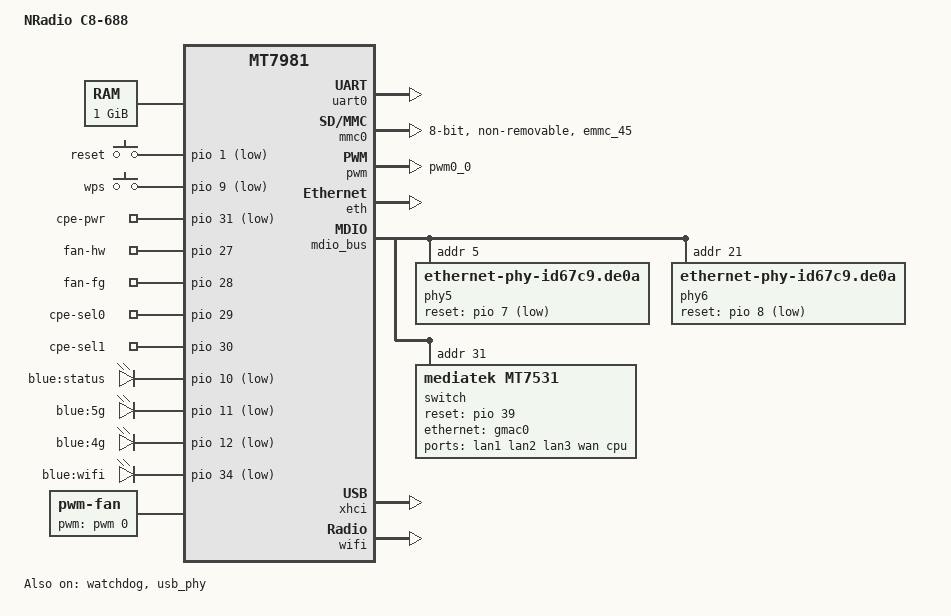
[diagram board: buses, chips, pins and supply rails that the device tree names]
/dts-v1/;

#include "mt7981b.dtsi"
#include <dt-bindings/gpio/gpio.h>
#include <dt-bindings/input/input.h>

/ {
	model = "NRadio C8-688";
	compatible = "nradio,c8-688", "mediatek,mt7981b", "mediatek,mt7981";

	aliases {
		serial0 = &uart0;
		led-boot = &led_status;
		led-failsafe = &led_status;
		led-running = &led_status;
		led-upgrade = &led_status;
	};

	chosen {
		bootargs = "console=ttyS0,115200n1 loglevel=8 root=/dev/mmcblk0p9 rootwait rootfstype=squashfs,f2fs";
	};

	memory@40000000 {
		device_type = "memory";
		reg = <0 0x40000000 0 0x40000000>; /* 1024MB (1GB) RAM */
	};

	/* 实体按键映射：Reset (GPIO 1), WPS (GPIO 9) */
	keys: gpio-keys {
		compatible = "gpio-keys";

		reset {
			label = "reset";
			linux,code = <KEY_RESTART>;
			gpios = <&pio 1 GPIO_ACTIVE_LOW>;
		};

		wps {
			label = "wps";
			linux,code = <KEY_WPS_BUTTON>;
			gpios = <&pio 9 GPIO_ACTIVE_LOW>;
		};
	};

	/* 5G 模组电源拉起与风扇常开控制 */
	gpio_export {
		compatible = "gpio-export";
		#size-cells = <0>;

		cpepower {
			gpio-export,name = "cpe-pwr";
			gpio-export,output = <0>;
			gpios = <&pio 31 GPIO_ACTIVE_LOW>;
		};

		fanpower {
			gpio-export,name = "fan-hw";
			gpio-export,output = <0>;
			gpios = <&pio 27 GPIO_ACTIVE_HIGH>;
		};

		fanfg {
			gpio-export,name = "fan-fg";
			gpio-export,output = <1>;
			gpios = <&pio 28 GPIO_ACTIVE_HIGH>;
		};

		cpesel0 {
			gpio-export,name = "cpe-sel0";
			gpio-export,output = <1>;
			gpios = <&pio 29 GPIO_ACTIVE_HIGH>;
		};

		cpesel1 {
			gpio-export,name = "cpe-sel1";
			gpio-export,output = <1>;
			gpios = <&pio 30 GPIO_ACTIVE_HIGH>;
		};
	};

	/* 真实状态与网络指示灯 */
	leds: gpio-leds {
		compatible = "gpio-leds";

		led_status: status {
			label = "blue:status";
			gpios = <&pio 10 GPIO_ACTIVE_LOW>;
			default-state = "on";
		};

		cmode5 {
			label = "blue:5g";
			gpios = <&pio 11 GPIO_ACTIVE_LOW>;
			default-state = "off";
		};

		cmode4 {
			label = "blue:4g";
			gpios = <&pio 12 GPIO_ACTIVE_LOW>;
			default-state = "off";
		};

		wifi {
			label = "blue:wifi";
			gpios = <&pio 34 GPIO_ACTIVE_LOW>;
			linux,default-trigger = "phy0tpt";
		};
	};

	/* 硬件温控 PWM 风扇 */
	fan: pwm-fan {
		compatible = "pwm-fan";
		cooling-min-state = <0>;
		cooling-max-state = <3>;
		#cooling-cells = <2>;
		pwms = <&pwm 0 40000 0>;
		cooling-levels = <127 166 204 255>;
		status = "okay";
	};
};

&uart0 {
	status = "okay";
};

&watchdog {
	status = "okay";
};

/* 芯片引脚复用 (严格采用原厂 emmc_45 与 pwm0_0) */
&pio {
	mmc0_pins_default: mmc0-pins-default {
		mux {
			function = "flash";
			groups = "emmc_45";
		};
	};

	pwm0_pin: pwm0-pin-g0 {
		mux {
			function = "pwm";
			groups = "pwm0_0";
		};
	};
};

/* eMMC 5.1 控制器 */
&mmc0 {
	pinctrl-names = "default";
	pinctrl-0 = <&mmc0_pins_default>;
	bus-width = <8>;
	max-frequency = <52000000>;
	cap-mmc-highspeed;
	non-removable;
	status = "okay";
};

/* 硬件 PWM 控制器 */
&pwm {
	pinctrl-names = "default";
	pinctrl-0 = <&pwm0_pin>;
	status = "okay";
};

/* 以太网 MAC 控制器与 MT7531 交换芯片配置 */
&eth {
	status = "okay";

	gmac0: mac@0 {
		compatible = "mediatek,eth-mac";
		reg = <0>;
		phy-mode = "2500base-x";

		fixed-link {
			speed = <2500>;
			full-duplex;
			pause;
		};
	};

	gmac1: mac@1 {
		compatible = "mediatek,eth-mac";
		reg = <1>;
		phy-mode = "2500base-x";

		fixed-link {
			speed = <2500>;
			full-duplex;
			pause;
		};
	};
};

&mdio_bus {
	status = "okay";

	phy5: phy@5 {
		compatible = "ethernet-phy-id67c9.de0a";
		reg = <5>;
		reset-gpios = <&pio 7 GPIO_ACTIVE_LOW>;
		reset-assert-us = <600>;
		reset-deassert-us = <20000>;
		phy-mode = "2500base-x";
	};

	phy6: phy@6 {
		compatible = "ethernet-phy-id67c9.de0a";
		reg = <21>;
		reset-gpios = <&pio 8 GPIO_ACTIVE_LOW>;
		reset-assert-us = <600>;
		reset-deassert-us = <20000>;
		phy-mode = "2500base-x";
	};

	switch@0 {
		compatible = "mediatek,mt7531";
		reg = <31>;
		reset-gpios = <&pio 39 GPIO_ACTIVE_HIGH>;

		ports {
			#address-cells = <1>;
			#size-cells = <0>;

			port@1 {
				reg = <1>;
				label = "lan1";
			};

			port@2 {
				reg = <2>;
				label = "lan2";
			};

			port@3 {
				reg = <3>;
				label = "lan3";
			};

			port@5 {
				reg = <5>;
				label = "wan";
				phy-mode = "2500base-x";
				phy-handle = <&phy5>;
			};

			port@6 {
				reg = <6>;
				label = "cpu";
				ethernet = <&gmac0>;
				phy-mode = "2500base-x";

				fixed-link {
					speed = <2500>;
					full-duplex;
					pause;
				};
			};
		};
	};
};

&usb_phy {
	status = "okay";
};

&xhci {
	status = "okay";
};

&wifi {
	status = "okay";
};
